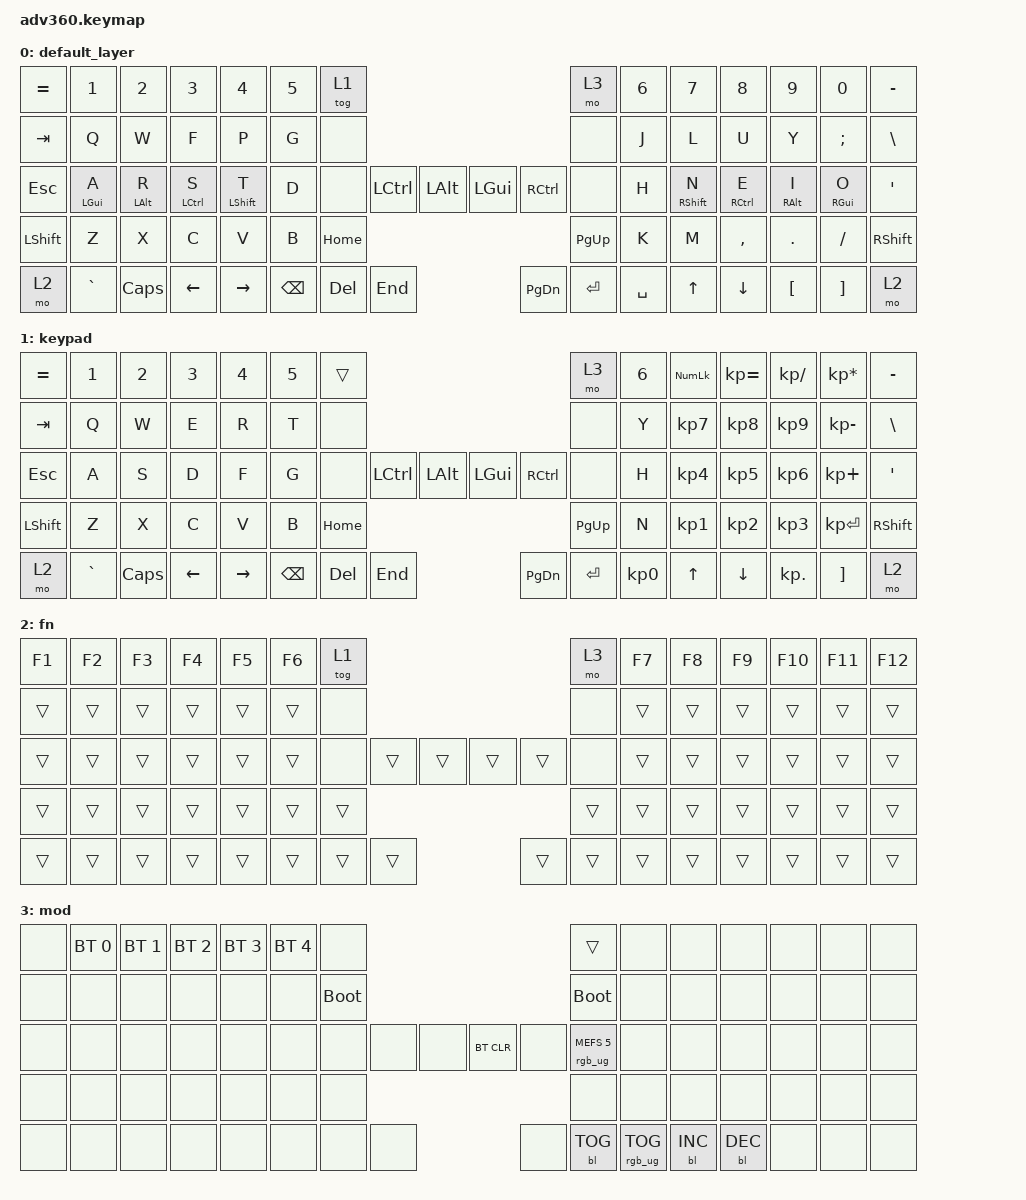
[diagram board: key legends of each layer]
#include "adv360_keypos.h"
#include "zmk_helper.h"

#define ___ &trans

/* Layer references  */
#define COLEMAK 0
#define QWERTY 1
#define NUM 2
#define SYM 3
#define FN 4
#define MOD 5
#define MS 6
#define NAV 7

/* Global settings */

#define QUICK_TAP_MS 175

&sk {  // sticky-key config
    release-after-ms = <900>;  // release after 0.6s
    quick-release;             // no double capitalization when rolling keys
};

&sl {  // sticky-layer config
    ignore-modifiers;          // allow chording sticky mods & layers
};

&lt {  // layer-tap config
    flavor = "balanced";
    tapping-term-ms = <200>;
    quick-tap-ms = <QUICK_TAP_MS>;
};



/* Homerow mods */
#define KEYS_L LT0 LT1 LT2 LT3 LT4 LM0 LM1 LM2 LM3 LM4 LB0 LB1 LB2 LB3 LB4  // left hand
#define KEYS_R RT0 RT1 RT2 RT3 RT4 RM0 RM1 RM2 RM3 RM4 RB0 RB1 RB2 RB3 RB4  // right hand
#define THUMBS LH2 LH1 LH0 RH0 RH1 RH2                                      // thumbs

#define MAKE_HRM(NAME, HOLD, TAP, TRIGGER_POS) \
    ZMK_BEHAVIOR(NAME, hold_tap, \
        flavor = "balanced"; \
        tapping-term-ms = <280>; \
        quick-tap-ms = <QUICK_TAP_MS>; \
        require-prior-idle-ms = <150>; \
        bindings = <HOLD>, <TAP>; \
        hold-trigger-key-positions = <TRIGGER_POS>; \
        hold-trigger-on-release; \
    )
MAKE_HRM(hml, &kp, &kp, KEYS_R THUMBS)  // left-hand HRMs
MAKE_HRM(hmr, &kp, &kp, KEYS_L THUMBS)  // right-hand HRMs

MAKE_HRM(hml_repeat, &kp, &key_repeat, KEYS_R THUMBS)  // used for HRM-combo
MAKE_HRM(hmr_lpar_lt, &kp, &lpar_lt, KEYS_L THUMBS)    // "    "   "   "
MAKE_HRM(hmr_rpar_gt, &kp, &rpar_gt, KEYS_L THUMBS)    // "    "   "   "

// Base Layer home row mods
#define A_LGUI     &hml LGUI A
#define R_LALT     &hml LALT R
#define S_LCTRL    &hml LCTRL S
#define T_LSHFT    &hml LSHFT T
#define N_RSHFT    &hmr RSHFT N
#define E_RCTRL    &hmr RCTRL E
#define I_RALT     &hmr RALT I
#define O_RGUI     &hmr RGUI O



/* Macros and shortcuts */
#include "custom_behaviors.h"

#include <behaviors.dtsi>
#include <dt-bindings/zmk/backlight.h>
#include <dt-bindings/zmk/bt.h>
#include <dt-bindings/zmk/keys.h>
#include <dt-bindings/zmk/rgb.h>

/ {
    behaviors {
    };

    macros {
    };

    keymap {
        compatible = "zmk,keymap";

        default_layer {
            bindings = <
&kp EQUAL  &kp N1     &kp N2    &kp N3    &kp N4       &kp N5  &tog 1                                                                    &mo 3  &kp N6  &kp N7       &kp N8     &kp N9    &kp N0         &kp MINUS
&kp TAB    &kp Q      &kp W     &kp F     &kp P        &kp G   &none                                                                     &none  &kp J   &kp L        &kp U      &kp Y     &kp SEMICOLON  &kp BSLH
&kp ESC    A_LGUI     R_LALT    S_LCTRL   T_LSHFT      &kp D   &none             &kp LCTRL  &kp LALT    &kp LGUI   &kp RCTRL             &none  &kp H   N_RSHFT      E_RCTRL    I_RALT    O_RGUI          &kp SQT
&kp LSHFT  &kp Z      &kp X     &kp C     &kp V        &kp B                                &kp HOME    &kp PG_UP                               &kp K   &kp M        &kp COMMA  &kp DOT   &kp FSLH       &kp RSHFT
&mo 2      &kp GRAVE  &kp CAPS  &kp LEFT  &kp RIGHT                    &kp BSPC  &kp DEL    &kp END     &kp PG_DN  &kp ENTER  &kp SPACE                 &kp UP       &kp DOWN   &kp LBKT  &kp RBKT       &mo 2
            >;
        };

        keypad {
            bindings = <
&kp EQUAL  &kp N1     &kp N2    &kp N3    &kp N4     &kp N5  &trans                                                                    &mo 3  &kp N6  &kp KP_NUM  &kp KP_EQUAL  &kp KP_DIVIDE  &kp KP_MULTIPLY  &kp MINUS
&kp TAB    &kp Q      &kp W     &kp E     &kp R      &kp T   &none                                                                     &none  &kp Y   &kp KP_N7   &kp KP_N8     &kp KP_N9      &kp KP_MINUS     &kp BSLH
&kp ESC    &kp A      &kp S     &kp D     &kp F      &kp G   &none             &kp LCTRL  &kp LALT    &kp LGUI   &kp RCTRL             &none  &kp H   &kp KP_N4   &kp KP_N5     &kp KP_N6      &kp KP_PLUS      &kp SQT
&kp LSHFT  &kp Z      &kp X     &kp C     &kp V      &kp B                                &kp HOME    &kp PG_UP                               &kp N   &kp KP_N1   &kp KP_N2     &kp KP_N3      &kp KP_ENTER     &kp RSHFT
&mo 2      &kp GRAVE  &kp CAPS  &kp LEFT  &kp RIGHT                  &kp BSPC  &kp DEL    &kp END     &kp PG_DN  &kp ENTER  &kp KP_N0                 &kp UP      &kp DOWN      &kp KP_DOT     &kp RBKT         &mo 2
            >;
        };

        fn {
            bindings = <
&kp F1  &kp F2  &kp F3  &kp F4  &kp F5  &kp F6  &tog 1                                                    &mo 3  &kp F7  &kp F8  &kp F9  &kp F10  &kp F11  &kp F12
&trans  &trans  &trans  &trans  &trans  &trans  &none                                                     &none  &trans  &trans  &trans  &trans   &trans   &trans
&trans  &trans  &trans  &trans  &trans  &trans  &none           &trans  &trans    &trans  &trans          &none  &trans  &trans  &trans  &trans   &trans   &trans
&trans  &trans  &trans  &trans  &trans  &trans                          &trans    &trans                         &trans  &trans  &trans  &trans   &trans   &trans
&trans  &trans  &trans  &trans  &trans                  &trans  &trans  &trans    &trans  &trans  &trans                 &trans  &trans  &trans   &trans   &trans
            >;
        };

        mod {
            bindings = <
&none  &bt BT_SEL 0  &bt BT_SEL 1  &bt BT_SEL 2  &bt BT_SEL 3  &bt BT_SEL 4  &none                                                                        &trans                  &none  &none       &none       &none  &none  &none
&none  &none         &none         &none         &none         &none         &bootloader                                                                  &bootloader             &none  &none       &none       &none  &none  &none
&none  &none         &none         &none         &none         &none         &none               &none  &none    &bt BT_CLR  &none                        &rgb_ug RGB_MEFS_CMD 5  &none  &none       &none       &none  &none  &none
&none  &none         &none         &none         &none    &none                                    &none    &none                                                            &none  &none       &none       &none  &none  &none
&none  &none         &none         &none         &none                                    &none  &none  &none    &none       &bl BL_TOG  &rgb_ug RGB_TOG                                 &bl BL_INC  &bl BL_DEC  &none  &none  &none
            >;
        };
    };
};
